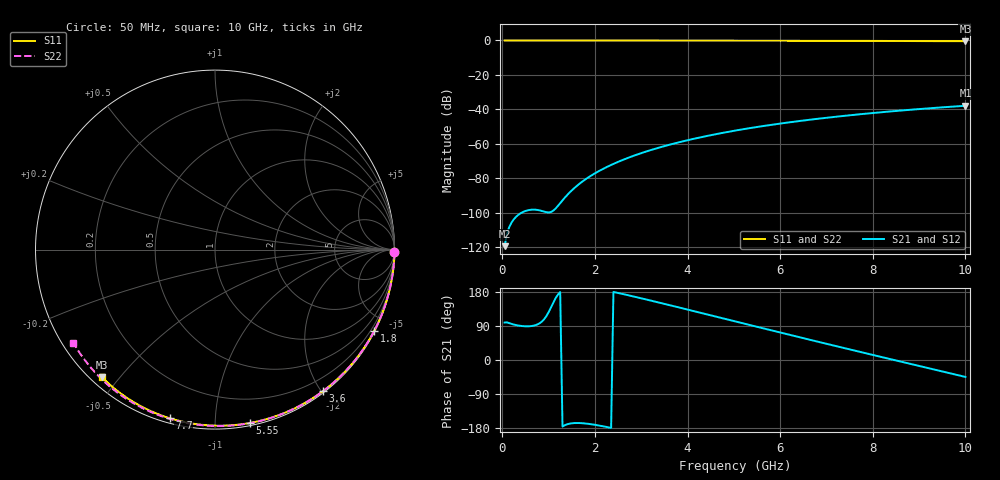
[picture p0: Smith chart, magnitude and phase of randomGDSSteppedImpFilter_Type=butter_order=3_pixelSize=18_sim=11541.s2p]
! freq	dB(S11)	phase(S11)	dB(S12)	phase(S12)
!  dB(S21)	phase(S21)	dB(S22)	phase(S22)
!S-par simulation data
#  GHz  S  DB  R 50
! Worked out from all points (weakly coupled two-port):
!   200 points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, 50 MHz to 10 GHz, reference 50 ohm
!   highest |S21| = -37.89 dB at 10 GHz (marker M1); lowest = -119.3 dB at 50 MHz (marker M2)
!   lowest |S11| = -0.4 dB at 10 GHz (marker M3), VSWR 38.82, Z = 1.55 - j22.5 ohm
!   |S11| at or under -10 dB: nowhere
!   |S22| runs from -0.5 to 0.0 dB; largest |S21 - S12| = 0
!   S11 on the Smith chart (normalised r, x): 50 MHz: open; 1.8 GHz: 0.04, -4.18; 3.6 GHz: 0.02, -2.02; 5.55 GHz: 0.02, -1.22; 7.7 GHz: 0.02, -0.77; 10 GHz: 0.03, -0.45
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0.05  -0.00 -0.8  -119.33 98.8  -119.33 98.8  -0.00 -0.9
0.45  -0.01 -6.8  -99.44 89.3  -99.44 89.3  -0.01 -7.7
0.9  -0.02 -13.6  -99.26 107.0  -99.26 107.0  -0.02 -15.3
1.3  -0.02 -19.6  -92.74 -175.7  -92.74 -175.7  -0.03 -21.9
1.75  -0.03 -26.2  -81.43 -167.0  -81.43 -167.0  -0.04 -29.4
1.8  -0.03 -26.9  -80.48 -167.6  -80.48 -167.6  -0.04 -30.2
1.85  -0.04 -27.7  -79.57 -168.4  -79.57 -168.4  -0.04 -31.0
2.05  -0.04 -30.6  -76.31 -172.1  -76.31 -172.1  -0.04 -34.3
2.2  -0.04 -32.8  -74.17 -175.5  -74.17 -175.5  -0.05 -36.7
2.55  -0.05 -37.8  -69.86 175.5  -69.86 175.5  -0.05 -42.4
2.95  -0.06 -43.6  -65.82 164.3  -65.82 164.3  -0.06 -48.7
3.4  -0.07 -49.9  -62.04 151.1  -62.04 151.1  -0.07 -55.8
3.6  -0.07 -52.7  -60.55 145.1  -60.55 145.1  -0.08 -58.9
4.3  -0.09 -62.2  -56.07 124.0  -56.07 124.0  -0.10 -69.5
5.05  -0.11 -72.2  -52.19 101.3  -52.19 101.3  -0.12 -80.5
5.55  -0.13 -78.7  -49.98 86.1  -49.98 86.1  -0.14 -87.7
6.1  -0.15 -85.6  -47.84 69.6  -47.84 69.6  -0.17 -95.4
6.7  -0.18 -93.1  -45.78 51.6  -45.78 51.6  -0.20 -103.6
7.7  -0.24 -105.1  -42.86 22.1  -42.86 22.1  -0.27 -116.9
8.35  -0.29 -112.7  -41.24 3.2  -41.24 3.2  -0.32 -125.3
9.2  -0.36 -122.4  -39.38 -21.5  -39.38 -21.5  -0.40 -136.3
10  -0.45 -131.5  -37.89 -44.7  -37.89 -44.7  -0.50 -146.6
